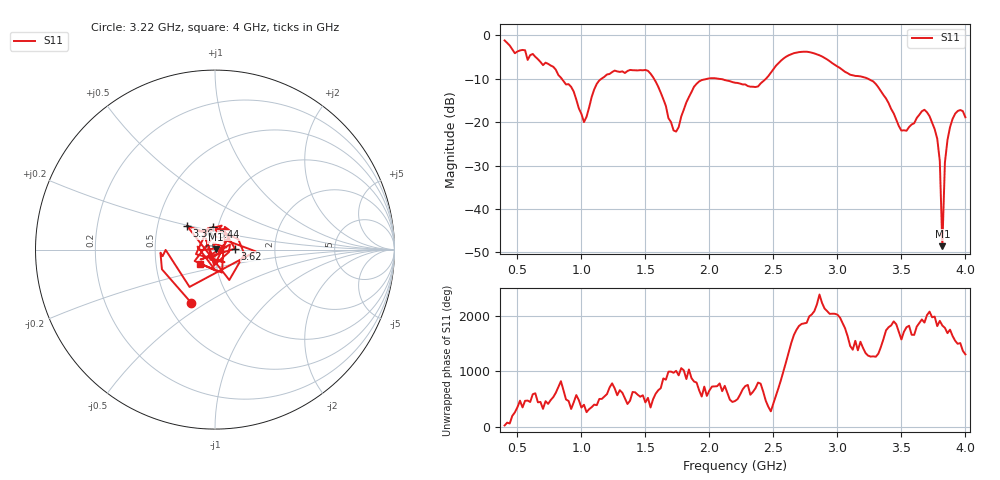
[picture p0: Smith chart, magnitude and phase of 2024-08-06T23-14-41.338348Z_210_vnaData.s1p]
!Created with skrf (http://scikit-rf.org).
# Hz S RI R 50.0
!freq ReS11 ImS11
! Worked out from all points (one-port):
!   181 points, 400 MHz to 4 GHz, reference 50 ohm
!   lowest |S11| = -48.6 dB at 3.82 GHz (marker M1), VSWR 1.01, Z = 50.3 + j0.138 ohm
!   |S11| at or under -10 dB: 1.567 GHz to 1.987 GHz (420.4 MHz wide, 23.7 % of centre); 2.066 GHz to 2.442 GHz (376.1 MHz wide, 16.7 % of centre); 3.238 GHz to end of sweep (the widest 3 of 4)
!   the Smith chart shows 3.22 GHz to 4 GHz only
!   S11 on the Smith chart (normalised r, x): 3.22 GHz: 0.65, -0.43; 3.36 GHz: 0.71, +0.20; 3.44 GHz: 0.94, +0.24; 3.62 GHz: 1.25, +0.01; 4 GHz: 0.84, -0.13
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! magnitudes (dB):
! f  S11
! 400 MHz  -1.2
! 860 MHz  -10.5
! 940 MHz  -13.0
! 1.02 GHz  -20.0
! 1.12 GHz  -11.2
! 1.3 GHz  -8.4
! 1.52 GHz  -8.2
! 1.72 GHz  -21.9
! 1.76 GHz  -21.2
! 1.92 GHz  -10.6
! 2.2 GHz  -10.9
! 2.38 GHz  -11.8
! 2.66 GHz  -4.1
! 3.1 GHz  -9.1
! 3.22 GHz  -9.8
! 3.36 GHz  -13.8
! 3.44 GHz  -18.0
! 3.5 GHz  -21.9
! 3.56 GHz  -21.1
! 3.62 GHz  -19.0
! 3.7 GHz  -17.7
! 3.78 GHz  -23.8
! 3.8 GHz  -28.9
! 3.82 GHz  -48.6
! 3.84 GHz  -29.3
! 3.86 GHz  -24.1
! 3.92 GHz  -18.1
! 4 GHz  -18.9
